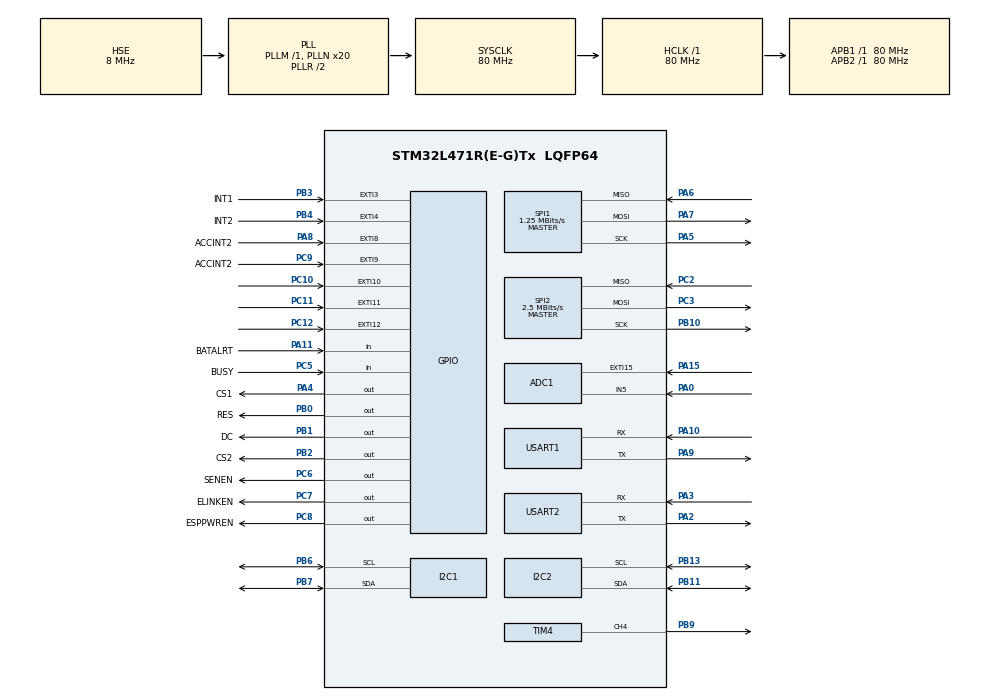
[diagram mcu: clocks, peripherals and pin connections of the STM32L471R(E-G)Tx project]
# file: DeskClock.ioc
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ADC1.Channel-0\#ChannelRegularConversion=ADC_CHANNEL_5
ADC1.ContinuousConvMode=ENABLE
ADC1.NbrOfConversionFlag=1
ADC1.OffsetNumber-0\#ChannelRegularConversion=ADC_OFFSET_NONE
ADC1.Rank-0\#ChannelRegularConversion=1
ADC1.SamplingTime-0\#ChannelRegularConversion=ADC_SAMPLETIME_2CYCLES_5
ADC1.master=1
Dma.ADC1.0.Direction=DMA_PERIPH_TO_MEMORY
Dma.ADC1.0.Instance=DMA1_Channel1
Dma.ADC1.0.MemDataAlignment=DMA_MDATAALIGN_WORD
Dma.ADC1.0.MemInc=DMA_MINC_ENABLE
Dma.ADC1.0.Mode=DMA_NORMAL
Dma.ADC1.0.PeriphDataAlignment=DMA_PDATAALIGN_WORD
Dma.ADC1.0.PeriphInc=DMA_PINC_DISABLE
Dma.ADC1.0.Priority=DMA_PRIORITY_LOW
Dma.Request0=ADC1
Dma.Request1=USART2_TX
Dma.Request2=SPI2_TX
Dma.SPI2_TX.2.Direction=DMA_MEMORY_TO_PERIPH
Dma.SPI2_TX.2.Instance=DMA1_Channel5
Dma.SPI2_TX.2.MemDataAlignment=DMA_MDATAALIGN_BYTE
Dma.SPI2_TX.2.MemInc=DMA_MINC_ENABLE
Dma.SPI2_TX.2.Mode=DMA_NORMAL
Dma.SPI2_TX.2.PeriphDataAlignment=DMA_PDATAALIGN_BYTE
Dma.SPI2_TX.2.PeriphInc=DMA_PINC_DISABLE
Dma.SPI2_TX.2.Priority=DMA_PRIORITY_LOW
Dma.USART2_TX.1.Direction=DMA_MEMORY_TO_PERIPH
Dma.USART2_TX.1.Instance=DMA1_Channel7
Dma.USART2_TX.1.MemDataAlignment=DMA_MDATAALIGN_BYTE
Dma.USART2_TX.1.MemInc=DMA_MINC_ENABLE
Dma.USART2_TX.1.Mode=DMA_NORMAL
Dma.USART2_TX.1.PeriphDataAlignment=DMA_PDATAALIGN_BYTE
Dma.USART2_TX.1.PeriphInc=DMA_PINC_DISABLE
Dma.USART2_TX.1.Priority=DMA_PRIORITY_LOW
FREERTOS.Tasks01=defaultTask,24,128,StartDefaultTask,Default,NULL,Dynamic,NULL,NULL
FREERTOS.configENABLE_FPU=1
FREERTOS.configUSE_TICKLESS_IDLE=1
I2C1.Timing=0x10D19CE4
I2C2.Timing=0x10D19CE4
Mcu.Family=STM32L4
Mcu.Name=STM32L471R(E-G)Tx
Mcu.Package=LQFP64
NVIC.DMA1_Channel1_IRQn=true\:5\:0\:false\:false\:true\:true\:false\:true\:true
NVIC.DMA1_Channel5_IRQn=true\:5\:0\:false\:false\:true\:true\:false\:true\:true
NVIC.DMA1_Channel7_IRQn=true\:5\:0\:false\:false\:true\:true\:false\:true\:true
NVIC.EXTI9_5_IRQn=true\:5\:0\:false\:false\:true\:true\:true\:true\:true
NVIC.LPTIM1_IRQn=true\:5\:0\:false\:false\:true\:true\:true\:true\:true
NVIC.PriorityGroup=NVIC_PRIORITYGROUP_4
NVIC.RTC_Alarm_IRQn=true\:5\:0\:false\:false\:true\:true\:true\:true\:true
NVIC.RTC_WKUP_IRQn=true\:5\:0\:false\:false\:true\:true\:true\:true\:true
NVIC.SPI2_IRQn=true\:5\:0\:false\:false\:true\:false\:true\:true\:true
NVIC.TIM1_TRG_COM_TIM17_IRQn=true\:15\:0\:false\:false\:true\:false\:false\:true\:true
NVIC.TimeBase=TIM1_TRG_COM_TIM17_IRQn
NVIC.TimeBaseIP=TIM17
NVIC.USART2_IRQn=true\:5\:0\:false\:false\:true\:false\:true\:true\:true
PA0.Signal=ADCx_IN5
PA10.Mode=Asynchronous
PA10.Signal=USART1_RX
PA11.GPIO_Label=BATALRT
PA11.Signal=GPIO_Input
PA13\ (JTMS-SWDIO).Mode=Serial_Wire
PA13\ (JTMS-SWDIO).Signal=SYS_JTMS-SWDIO
PA14\ (JTCK-SWCLK).Mode=Serial_Wire
PA14\ (JTCK-SWCLK).Signal=SYS_JTCK-SWCLK
PA15\ (JTDI).Signal=GPXTI15
PA2.Mode=Asynchronous
PA2.Signal=USART2_TX
PA3.Mode=Asynchronous
PA3.Signal=USART2_RX
PA4.GPIO_Label=CS1
PA4.GPIO_PuPd=GPIO_PULLUP
PA4.GPIO_Speed=GPIO_SPEED_FREQ_HIGH
PA4.PinState=GPIO_PIN_SET
PA4.Signal=GPIO_Output
PA5.Mode=Full_Duplex_Master
PA5.Signal=SPI1_SCK
PA6.Mode=Full_Duplex_Master
PA6.Signal=SPI1_MISO
PA7.Mode=Full_Duplex_Master
PA7.Signal=SPI1_MOSI
PA8.GPIO_Label=ACCINT2
PA8.Signal=GPXTI8
PA9.Mode=Asynchronous
PA9.Signal=USART1_TX
PB0.GPIO_Label=RES
PB0.Signal=GPIO_Output
PB1.GPIO_Label=DC
PB1.Signal=GPIO_Output
PB10.Mode=Full_Duplex_Master
PB10.Signal=SPI2_SCK
PB11.Mode=I2C
PB11.Signal=I2C2_SDA
PB13.Mode=I2C
PB13.Signal=I2C2_SCL
PB2.GPIO_Label=CS2
PB2.GPIO_PuPd=GPIO_PULLUP
PB2.GPIO_Speed=GPIO_SPEED_FREQ_HIGH
PB2.PinState=GPIO_PIN_SET
PB2.Signal=GPIO_Output
PB3\ (JTDO-TRACESWO).GPIO_Label=INT1
PB3\ (JTDO-TRACESWO).Signal=GPXTI3
PB4\ (NJTRST).GPIO_Label=INT2
PB4\ (NJTRST).Signal=GPXTI4
PB6.Mode=I2C
PB6.Signal=I2C1_SCL
PB7.Mode=I2C
PB7.Signal=I2C1_SDA
PB9.Signal=S_TIM4_CH4
PC10.Signal=GPXTI10
PC11.Signal=GPXTI11
PC12.Signal=GPXTI12
PC14-OSC32_IN\ (PC14).Mode=LSE-External-Oscillator
PC14-OSC32_IN\ (PC14).Signal=RCC_OSC32_IN
PC15-OSC32_OUT\ (PC15).Mode=LSE-External-Oscillator
PC15-OSC32_OUT\ (PC15).Signal=RCC_OSC32_OUT
PC2.Mode=Full_Duplex_Master
PC2.Signal=SPI2_MISO
PC3.Mode=Full_Duplex_Master
PC3.Signal=SPI2_MOSI
PC5.GPIO_Label=BUSY
PC5.Signal=GPIO_Input
PC6.GPIO_Label=SENEN
PC6.Signal=GPIO_Output
PC7.GPIO_Label=ELINKEN
PC7.Signal=GPIO_Output
PC8.GPIO_Label=ESPPWREN
PC8.Signal=GPIO_Output
PC9.GPIO_Label=ACCINT2
PC9.Signal=GPXTI9
PH0-OSC_IN\ (PH0).Mode=HSE-External-Oscillator
PH0-OSC_IN\ (PH0).Signal=RCC_OSC_IN
PH1-OSC_OUT\ (PH1).Mode=HSE-External-Oscillator
PH1-OSC_OUT\ (PH1).Signal=RCC_OSC_OUT
ProjectManager.HeapSize=0x200
ProjectManager.StackSize=0x400
ProjectManager.TargetToolchain=MDK-ARM V5.32
RCC.ADCFreq_Value=32000000
RCC.AHBFreq_Value=80000000
RCC.APB1Freq_Value=80000000
RCC.APB1TimFreq_Value=80000000
RCC.APB2Freq_Value=80000000
RCC.APB2TimFreq_Value=80000000
RCC.CortexFreq_Value=80000000
RCC.HCLKFreq_Value=80000000
RCC.HSE_VALUE=8000000
RCC.HSI_VALUE=16000000
RCC.LPTIM1CLockSelection=RCC_LPTIM1CLKSOURCE_LSE
RCC.MSI_VALUE=4000000
RCC.PLLN=20
RCC.PLLSourceVirtual=RCC_PLLSOURCE_HSE
RCC.RTCClockSelection=RCC_RTCCLKSOURCE_LSE
RCC.SYSCLKFreq_VALUE=80000000
RCC.SYSCLKSource=RCC_SYSCLKSOURCE_PLLCLK
RCC.VCOOutputFreq_Value=160000000
RTC.Alarm-Alarm\ A=RTC_ALARM_A
RTC.Alarm_B-Alarm\ B=RTC_ALARM_B
RTC.Date=18
RTC.Hours_A-Alarm\ A=22
RTC.Month=RTC_MONTH_OCTOBER
RTC.WeekDay=RTC_WEEKDAY_SUNDAY
SH.ADCx_IN5.0=ADC1_IN5,IN5-Single-Ended
SH.S_TIM4_CH4.0=TIM4_CH4,PWM Generation4 CH4
SPI1.BaudRatePrescaler=SPI_BAUDRATEPRESCALER_64
SPI1.CalculateBaudRate=1.25 MBits/s
SPI1.DataSize=SPI_DATASIZE_8BIT
SPI1.Direction=SPI_DIRECTION_2LINES
SPI1.Mode=SPI_MODE_MASTER
SPI1.VirtualType=VM_MASTER
SPI2.BaudRatePrescaler=SPI_BAUDRATEPRESCALER_32
SPI2.CalculateBaudRate=2.5 MBits/s
SPI2.DataSize=SPI_DATASIZE_8BIT
SPI2.Direction=SPI_DIRECTION_2LINES
SPI2.Mode=SPI_MODE_MASTER
SPI2.VirtualType=VM_MASTER
TIM4.Channel-PWM\ Generation4\ CH4=TIM_CHANNEL_4
USART1.VirtualMode-Asynchronous=VM_ASYNC
USART2.VirtualMode-Asynchronous=VM_ASYNC
VP_ADC1_TempSens_Input.Mode=IN-TempSens
VP_ADC1_Vref_Input.Mode=IN-Vrefint
VP_FREERTOS_VS_CMSIS_V2.Mode=CMSIS_V2
VP_LPTIM1_VS_LPTIM_counterModeInternalClock.Mode=Counts__internal_clock_event_00
VP_RTC_VS_RTC_Activate.Mode=RTC_Enabled
VP_RTC_VS_RTC_Alarm_A_Intern.Mode=Alarm A
VP_RTC_VS_RTC_Alarm_B_Intern.Mode=Alarm B
VP_RTC_VS_RTC_Calendar.Mode=RTC_Calendar
VP_RTC_VS_RTC_WakeUp_intern.Mode=WakeUp
VP_SYS_VS_tim17.Mode=TIM17
board=custom

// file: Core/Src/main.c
/* USER CODE BEGIN Header */
/**
  ******************************************************************************
  * @file           : main.c
  * @brief          : Main program body
  ******************************************************************************
  * @attention
  *
  * Copyright (c) 2026 STMicroelectronics.
  * All rights reserved.
  *
  * This software is licensed under terms that can be found in the LICENSE file
  * in the root directory of this software component.
  * If no LICENSE file comes with this software, it is provided AS-IS.
  *
  ******************************************************************************
  */
/* USER CODE END Header */
#include "main.h"
#include "cmsis_os.h"
#include "adc.h"
#include "dma.h"
#include "i2c.h"
#include "lptim.h"
#include "rtc.h"
#include "spi.h"
#include "tim.h"
#include "usart.h"
#include "gpio.h"

/* USER CODE BEGIN Includes */
#include "debug.h"
/* USER CODE END Includes */

void SystemClock_Config(void);
void MX_FREERTOS_Init(void);

int main(void)
{

  /* MCU Configuration--------------------------------------------------------*/

  /* Reset of all peripherals, Initializes the Flash interface and the Systick. */
  HAL_Init();

  /* Configure the system clock */
  SystemClock_Config();

  /* Initialize all configured peripherals */
  MX_GPIO_Init();
  MX_DMA_Init();
  MX_I2C1_Init();
  MX_I2C2_Init();
  MX_SPI1_Init();
  MX_SPI2_Init();
  MX_USART1_UART_Init();
  MX_USART2_UART_Init();
  MX_RTC_Init();
  MX_TIM4_Init();
  MX_ADC1_Init();
  MX_LPTIM1_Init();
  /* USER CODE BEGIN 2 */
  Debug_Init();
  /* USER CODE END 2 */

  /* Init scheduler */
  osKernelInitialize();  /* Call init function for freertos objects (in cmsis_os2.c) */
  MX_FREERTOS_Init();

  /* Start scheduler */
  osKernelStart();

  /* We should never get here as control is now taken by the scheduler */

  /* Infinite loop */
  while (1)
  {

  }
}

void SystemClock_Config(void)
{
  RCC_OscInitTypeDef RCC_OscInitStruct = {0};
  RCC_ClkInitTypeDef RCC_ClkInitStruct = {0};

  /** Configure the main internal regulator output voltage
  */
  if (HAL_PWREx_ControlVoltageScaling(PWR_REGULATOR_VOLTAGE_SCALE1) != HAL_OK)
  {
    Error_Handler();
  }

  /** Configure LSE Drive Capability
  */
  HAL_PWR_EnableBkUpAccess();
  __HAL_RCC_LSEDRIVE_CONFIG(RCC_LSEDRIVE_LOW);

  /** Initializes the RCC Oscillators according to the specified parameters
  * in the RCC_OscInitTypeDef structure.
  */
  RCC_OscInitStruct.OscillatorType = RCC_OSCILLATORTYPE_HSE|RCC_OSCILLATORTYPE_LSE;
  RCC_OscInitStruct.HSEState = RCC_HSE_ON;
  RCC_OscInitStruct.LSEState = RCC_LSE_ON;
  RCC_OscInitStruct.PLL.PLLState = RCC_PLL_ON;
  RCC_OscInitStruct.PLL.PLLSource = RCC_PLLSOURCE_HSE;
  RCC_OscInitStruct.PLL.PLLM = 1;
  RCC_OscInitStruct.PLL.PLLN = 20;
  RCC_OscInitStruct.PLL.PLLP = RCC_PLLP_DIV7;
  RCC_OscInitStruct.PLL.PLLQ = RCC_PLLQ_DIV2;
  RCC_OscInitStruct.PLL.PLLR = RCC_PLLR_DIV2;
  if (HAL_RCC_OscConfig(&RCC_OscInitStruct) != HAL_OK)
  {
    Error_Handler();
  }

  /** Initializes the CPU, AHB and APB buses clocks
  */
  RCC_ClkInitStruct.ClockType = RCC_CLOCKTYPE_HCLK|RCC_CLOCKTYPE_SYSCLK
                              |RCC_CLOCKTYPE_PCLK1|RCC_CLOCKTYPE_PCLK2;
  RCC_ClkInitStruct.SYSCLKSource = RCC_SYSCLKSOURCE_PLLCLK;
  RCC_ClkInitStruct.AHBCLKDivider = RCC_SYSCLK_DIV1;
  RCC_ClkInitStruct.APB1CLKDivider = RCC_HCLK_DIV1;
  RCC_ClkInitStruct.APB2CLKDivider = RCC_HCLK_DIV1;

  if (HAL_RCC_ClockConfig(&RCC_ClkInitStruct, FLASH_LATENCY_4) != HAL_OK)
  {
    Error_Handler();
  }
}

void HAL_TIM_PeriodElapsedCallback(TIM_HandleTypeDef *htim)
{
  if (htim->Instance == TIM17)
  {
    HAL_IncTick();
  }
}

void Error_Handler(void)
{
  __disable_irq();
  while (1)
  {
  }
}

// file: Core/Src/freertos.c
/* USER CODE BEGIN Header */
/**
  ******************************************************************************
  * File Name          : freertos.c
  * Description        : Code for freertos applications
  ******************************************************************************
  * @attention
  *
  * Copyright (c) 2026 STMicroelectronics.
  * All rights reserved.
  *
  * This software is licensed under terms that can be found in the LICENSE file
  * in the root directory of this software component.
  * If no LICENSE file comes with this software, it is provided AS-IS.
  *
  ******************************************************************************
  */
/* USER CODE END Header */

#include "FreeRTOS.h"
#include "task.h"
#include "main.h"
#include "cmsis_os.h"

/* USER CODE BEGIN Includes */
#include "debug.h"
#include "display.h"
#include "buttons.h"
#include "accel.h"
#include "storage.h"
#include "clock_service.h"
#include "clock_faults.h"
#include "power.h"
#include "stm32_low_power.h"
/* USER CODE END Includes */

/* USER CODE BEGIN Variables */
osThreadId_t debugTaskHandle;
static StaticTask_t s_debug_task_control;
static StackType_t s_debug_task_stack[2048U / sizeof(StackType_t)];
/* USER CODE END Variables */
/* Definitions for defaultTask */
osThreadId_t defaultTaskHandle;
const osThreadAttr_t defaultTask_attributes = {
  .name = "defaultTask",
  .stack_size = 128 * 4,
  .priority = (osPriority_t) osPriorityNormal,
};

void StartDefaultTask(void *argument);

void MX_FREERTOS_Init(void); /* (MISRA C 2004 rule 8.1) */

void MX_FREERTOS_Init(void) {
  /* USER CODE BEGIN Init */
  power_init((uint32_t)xTaskGetTickCount());
  stm32_low_power_init();
  clock_service_init();
  /* USER CODE END Init */

  /* Create the thread(s) */
  /* creation of defaultTask */
  defaultTaskHandle = osThreadNew(StartDefaultTask, NULL, &defaultTask_attributes);

  /* USER CODE BEGIN RTOS_THREADS */
  /* add threads, ... */
  if (defaultTaskHandle == NULL) {
    clock_service_mark_unavailable();
    clock_fault_report(CLOCK_FAULT_TASK, CLOCK_FAULT_START);
  }
  /* creation of debugTask */
  const osThreadAttr_t debugTask_attributes = {
    .name = "debugTask",
    .cb_mem = &s_debug_task_control,
    .cb_size = sizeof(s_debug_task_control),
    .stack_mem = s_debug_task_stack,
    .stack_size = sizeof(s_debug_task_stack),
    .priority = osPriorityBelowNormal,
  };
  debugTaskHandle = osThreadNew(StartDebugTask, NULL, &debugTask_attributes);
  if (debugTaskHandle != NULL) {
    if (!accel_start()) { clock_fault_report(CLOCK_FAULT_TASK, CLOCK_FAULT_START); }
  } else {
    clock_fault_report(CLOCK_FAULT_TASK, CLOCK_FAULT_START);
  }
  if (!display_start()) {
    Debug_Log("display: task creation failed\r\n");
  }
  if (!buttons_start()) {
    clock_fault_report(CLOCK_FAULT_TASK, CLOCK_FAULT_START);
    Debug_Log("buttons: task initialization failed\r\n");
  }
  if (storage_start() != 0) {
    clock_fault_report(CLOCK_FAULT_TASK, CLOCK_FAULT_START);
    Debug_Log("storage: task creation failed\r\n");
  }
  /* USER CODE END RTOS_THREADS */

}

void StartDefaultTask(void *argument)
{
  /* USER CODE BEGIN StartDefaultTask */
  (void)argument;
  clock_service_run();
  /* USER CODE END StartDefaultTask */
}
